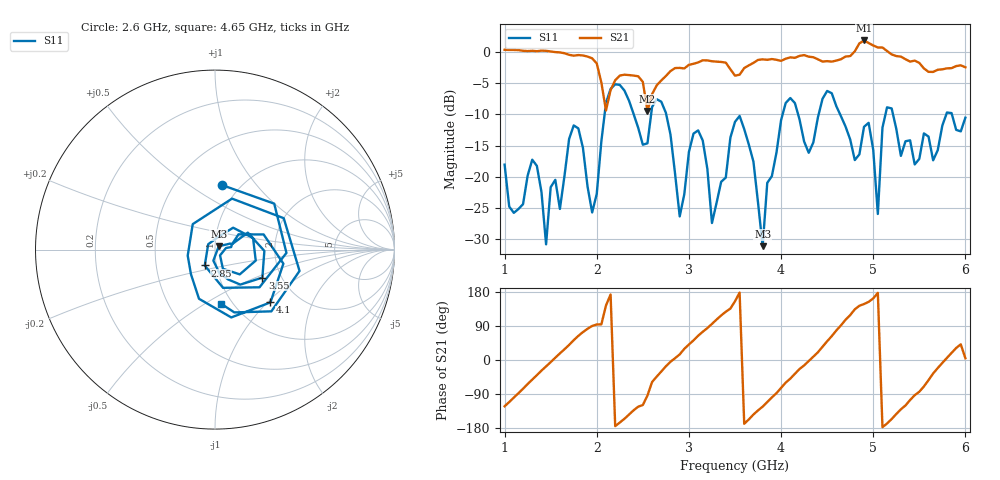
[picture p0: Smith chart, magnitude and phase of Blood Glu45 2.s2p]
! NanoVNA-App
! Date: 2024-03-21 11:48:22
! Start: 1GHz Stop: 6GHz Points: 101
! S-Parameter data: F S11 S21 S12 S22
# Hz S RI R 50
!	Frequency	S11_Real	S11_Imag	S21_Real	S21_Imag	S12_Real	S12_Imag	S22_Real	S22_Imag
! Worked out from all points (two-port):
!   101 points, 1 GHz to 6 GHz, reference 50 ohm
!   highest |S21| = 1.80 dB at 4.9 GHz (marker M1); lowest = -9.5 dB at 2.55 GHz (marker M2)
!   |S21| within 3 dB of the highest: start of sweep to 1.959 GHz; 4.65 GHz to 5.35 GHz (700.2 MHz wide, 14 % of centre)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
!   lowest |S11| = -31.1 dB at 3.8 GHz (marker M3), VSWR 1.06, Z = 52.1 + j1.93 ohm
!   |S11| at or under -10 dB: start of sweep to 2.085 GHz; 2.753 GHz to 4.017 GHz (1.264 GHz wide, 37.3 % of centre); 5.214 GHz to 5.793 GHz (578.8 MHz wide, 10.5 % of centre)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
!   S12 and S22 are empty: the file has one direction only
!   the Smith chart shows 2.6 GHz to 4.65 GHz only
!   S11 on the Smith chart (normalised r, x): 2.6 GHz: 0.83, +0.68; 2.85 GHz: 0.88, -0.16; 3.55 GHz: 1.60, -0.55; 4.1 GHz: 1.45, -1.04; 4.65 GHz: 0.89, -0.59
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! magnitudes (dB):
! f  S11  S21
! 1 GHz  -18.0  0.3
! 1.35 GHz  -18.2  0.1
! 1.45 GHz  -30.8  0.1
! 1.85 GHz  -15.4  -0.6
! 1.95 GHz  -25.7  -1.1
! 2.15 GHz  -6.0  -6.1
! 2.55 GHz  -14.6  -9.5
! 2.6 GHz  -8.8  -6.8
! 2.7 GHz  -8.0  -4.6
! 2.85 GHz  -19.5  -2.6
! 3.1 GHz  -12.6  -1.7
! 3.25 GHz  -27.4  -1.5
! 3.5 GHz  -11.2  -3.8
! 3.55 GHz  -10.3  -3.7
! 3.8 GHz  -31.1  -1.2
! 4.1 GHz  -7.4  -0.9
! 4.35 GHz  -14.5  -0.9
! 4.65 GHz  -10.3  -1.2
! 4.9 GHz  -12.0  1.8
! 5.05 GHz  -25.9  0.7
! 5.2 GHz  -9.1  -0.4
! 6 GHz  -10.5  -2.5
